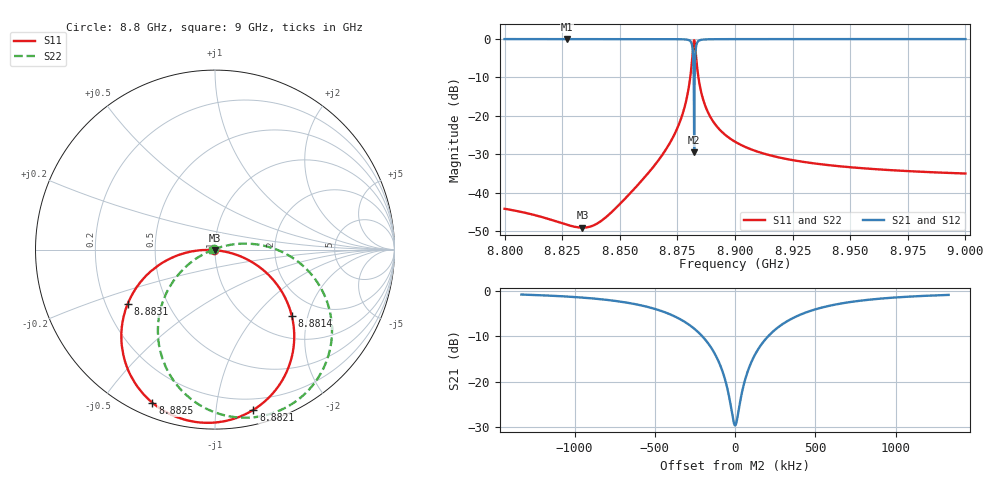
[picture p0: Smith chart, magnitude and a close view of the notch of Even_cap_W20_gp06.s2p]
! Sonnet Data File
! From: emgraph Version : 16.52
! From Project: Resonator2_cp_varyW
! Data is De-embedded
! Data File Written: 10/07/2017 09:25:23
!< HDATE 10/06/2017 17:18:21
!< MDATE 10/06/2017 17:18:21
!< PARAMS
!< gap = 6.0
!< Length = 400.0
!< Pwid1 = 2000.0
!< Pwid2 = 2000.0
!< Air_gap = 12.0
!< Width = 20.0
!< END PARAMS
# GHZ S MA R 51.80000
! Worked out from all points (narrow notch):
!   1595 points, 8.8 GHz to 9 GHz, reference 51.8 ohm
!   highest |S21| = 0.00 dB at 8.827 GHz (marker M1); lowest = -29.6 dB at 8.8823 GHz (marker M2)
!   notch at M2: 29.5 dB deep, 225 kHz wide at half that depth
!   lowest |S11| = -49.2 dB at 8.8338 GHz (marker M3), VSWR 1.01, Z = 51.8 - j0.36 ohm
!   |S11| at or under -10 dB: start of sweep to 8.8806 GHz; 8.8841 GHz to end of sweep
!   |S22| runs from -49.2 to -0.3 dB; largest |S21 - S12| = 0
!   S11 on the Smith chart (normalised r, x): 8.8 GHz: 0.99, -0.01; 8.8814 GHz: 1.47, -1.59; 8.8821 GHz: 0.11, -1.26; 8.8825 GHz: 0.06, -0.67; 8.8831 GHz: 0.29, -0.26; 9 GHz: 0.97, -0.00
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8.8  0.006146 -149.2  1 -81.1  1 -81.1  0.006145 166.9
!< P1 F=8.8 Eeff=(6.44629866 -2.9719e-5) Z0=(50.907433 1.17455e-4) R=0.0 C=0.0
!< P2 F=8.8 Eeff=(6.44629866 -2.9719e-5) Z0=(50.907433 1.17455e-4) R=0.0 C=0.0
8.827  0.003804 -117.9  1 -81.6  1 -81.6  0.0038 134.7
8.8334  0.003486 -96.2  1 -81.7  1 -81.7  0.00348 112.8
8.8338  0.003484 -94.6  1 -81.7  1 -81.7  0.003478 111.1
8.845  0.005064 -48.1  1 -82.0  1 -82.0  0.005056 63.9
8.8668  0.02639 -13.8  0.9996 -83.5  0.9996 -83.5  0.02638 26.5
8.876796  0.09589 -12.5  0.995 -87.6  0.995 -87.6  0.09586 16.7
8.880187  0.2621 -21.2  0.9624 -97.4  0.9624 -97.4  0.262 5.3
8.881438  0.5647 -40.8  0.8115 -116.5  0.8115 -116.5  0.5645 -15.2
8.882076  0.9178 -76.5  0.3151 -148.1  0.3151 -148.1  0.9176 -51.3
8.8822  0.9589 -87.5  0.1309 -150.3  0.1309 -150.3  0.9587 -62.4
8.882279  0.9668 -94.7  0.0333 -81.0  0.0333 -81.0  0.9666 -69.7
8.882361  0.9583 -102.3  0.1371 -13.7  0.1371 -13.7  0.9581 -77.4
8.882474  0.9221 -112.2  0.303 -15.7  0.303 -15.7  0.9219 -87.3
8.882716  0.791 -129.7  0.5763 -30.0  0.5763 -30.0  0.7908 -105.0
8.883129  0.5737 -148.1  0.8056 -47.2  0.8056 -47.2  0.5736 -123.6
8.884609  0.2582 -168.5  0.9639 -67.2  0.9639 -67.2  0.2581 -145.0
8.8882  0.1121 -176.4  0.9933 -75.8  0.9933 -75.8  0.1121 -154.9
8.9  0.04597 -177.8  0.9989 -79.7  0.9989 -79.7  0.04596 -161.5
8.9334  0.02418 -175.5  0.9997 -81.3  0.9997 -81.3  0.02418 -167.1
8.9668  0.01964 -174.1  0.9998 -81.8  0.9998 -81.8  0.01964 -169.6
9  0.01768 -173.3  0.9998 -82.3  0.9998 -82.3  0.01768 -171.2
